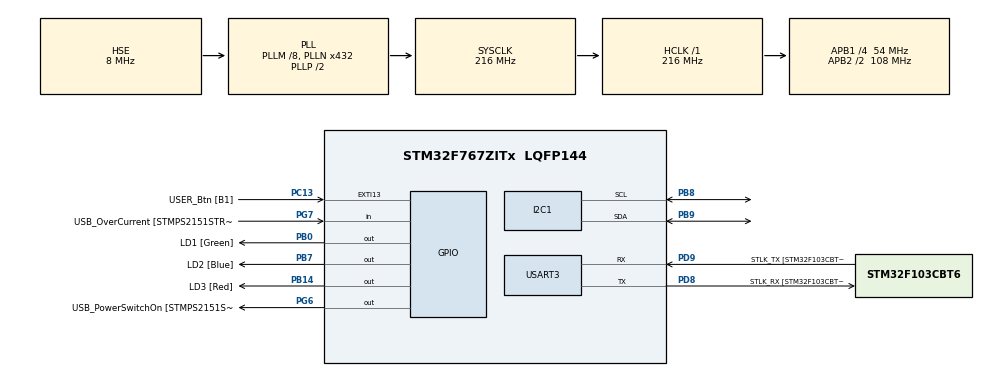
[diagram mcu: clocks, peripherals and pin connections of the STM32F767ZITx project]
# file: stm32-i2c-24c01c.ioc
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CORTEX_M7.ART_ACCLERATOR_ENABLE=1
CORTEX_M7.CPU_DCache=Enabled
CORTEX_M7.CPU_ICache=Enabled
I2C1.Timing=0x20404768
Mcu.Family=STM32F7
Mcu.Name=STM32F767ZITx
Mcu.Package=LQFP144
NVIC.PriorityGroup=NVIC_PRIORITYGROUP_4
PA1.GPIO_Label=RMII_REF_CLK [LAN8742A-CZ-TR_REFCLK0]
PA1.Signal=ETH_REF_CLK
PA10.GPIO_Label=USB_ID
PA10.Signal=USB_OTG_FS_ID
PA11.GPIO_Label=USB_DM
PA11.Signal=USB_OTG_FS_DM
PA12.GPIO_Label=USB_DP
PA12.Signal=USB_OTG_FS_DP
PA13.GPIO_Label=TMS
PA13.Signal=SYS_JTMS-SWDIO
PA14.GPIO_Label=TCK
PA14.Signal=SYS_JTCK-SWCLK
PA2.GPIO_Label=RMII_MDIO [LAN8742A-CZ-TR_MDIO]
PA2.Signal=ETH_MDIO
PA7.GPIO_Label=RMII_CRS_DV [LAN8742A-CZ-TR_CRS_DV]
PA7.Signal=ETH_CRS_DV
PA8.GPIO_Label=USB_SOF [TP1]
PA8.Signal=USB_OTG_FS_SOF
PA9.GPIO_Label=USB_VBUS
PA9.Signal=USB_OTG_FS_VBUS
PB0.GPIO_Label=LD1 [Green]
PB0.Signal=GPIO_Output
PB13.GPIO_Label=RMII_TXD1 [LAN8742A-CZ-TR_TXD1]
PB13.Signal=ETH_TXD1
PB14.GPIO_Label=LD3 [Red]
PB14.Signal=GPIO_Output
PB3.GPIO_Label=SW0
PB3.Signal=SYS_JTDO-SWO
PB7.GPIO_Label=LD2 [Blue]
PB7.Signal=GPIO_Output
PB8.Mode=I2C
PB8.Signal=I2C1_SCL
PB9.Mode=I2C
PB9.Signal=I2C1_SDA
PC1.GPIO_Label=RMII_MDC [LAN8742A-CZ-TR_MDC]
PC1.Signal=ETH_MDC
PC13.GPIO_Label=USER_Btn [B1]
PC13.Signal=GPXTI13
PC14/OSC32_IN.Signal=RCC_OSC32_IN
PC15/OSC32_OUT.Signal=RCC_OSC32_OUT
PC4.GPIO_Label=RMII_RXD0 [LAN8742A-CZ-TR_RXD0]
PC4.Signal=ETH_RXD0
PC5.GPIO_Label=RMII_RXD1 [LAN8742A-CZ-TR_RXD1]
PC5.Signal=ETH_RXD1
PD8.GPIO_Label=STLK_RX [STM32F103CBT6_PA3]
PD8.Mode=Asynchronous
PD8.Signal=USART3_TX
PD9.GPIO_Label=STLK_TX [STM32F103CBT6_PA2]
PD9.Mode=Asynchronous
PD9.Signal=USART3_RX
PG11.GPIO_Label=RMII_TX_EN [LAN8742A-CZ-TR_TXEN]
PG11.Signal=ETH_TX_EN
PG13.GPIO_Label=RMII_TXD0 [LAN8742A-CZ-TR_TXD0]
PG13.Signal=ETH_TXD0
PG6.GPIO_Label=USB_PowerSwitchOn [STMPS2151STR_EN]
PG6.Signal=GPIO_Output
PG7.GPIO_Label=USB_OverCurrent [STMPS2151STR_FAULT]
PG7.Signal=GPIO_Input
PH0/OSC_IN.GPIO_Label=MCO [STM32F103CBT6_PA8]
PH0/OSC_IN.Mode=HSE-External-Clock-Source
PH0/OSC_IN.Signal=RCC_OSC_IN
PH1/OSC_OUT.Mode=HSE-External-Clock-Source
PH1/OSC_OUT.Signal=RCC_OSC_OUT
ProjectManager.HeapSize=0x200
ProjectManager.StackSize=0x400
ProjectManager.TargetToolchain=SW4STM32
RCC.48MHZClocksFreq_Value=24000000
RCC.AHBFreq_Value=216000000
RCC.APB1CLKDivider=RCC_HCLK_DIV4
RCC.APB1Freq_Value=54000000
RCC.APB1TimFreq_Value=108000000
RCC.APB2CLKDivider=RCC_HCLK_DIV2
RCC.APB2Freq_Value=108000000
RCC.APB2TimFreq_Value=216000000
RCC.CortexFreq_Value=216000000
RCC.HCLKFreq_Value=216000000
RCC.HSE_VALUE=8000000
RCC.HSI_VALUE=16000000
RCC.LSE_VALUE=32768
RCC.PLLM=8
RCC.PLLMUL=RCC_PLL_MUL9
RCC.PLLN=432
RCC.PLLSourceVirtual=RCC_PLLSOURCE_HSE
RCC.PRESCALERUSB=RCC_USBCLKSOURCE_PLL_DIV1_5
RCC.SYSCLKFreq_VALUE=216000000
RCC.SYSCLKSource=RCC_SYSCLKSOURCE_PLLCLK
RCC.SYSCLKSourceVirtual=RCC_SYSCLKSOURCE_PLLCLK
RCC.USBFreq_Value=216000000
RCC.VCOOutputFreq_Value=432000000
USART3.VirtualMode-Asynchronous=VM_ASYNC
board=NUCLEO-F767ZI

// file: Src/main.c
/* USER CODE BEGIN Header */
/**
  ******************************************************************************
  * @file           : main.c
  * @brief          : Main program body
  ******************************************************************************
  ** This notice applies to any and all portions of this file
  * that are not between comment pairs USER CODE BEGIN and
  * USER CODE END. Other portions of this file, whether
  * inserted by the user or by software development tools
  * are owned by their respective copyright owners.
  *
  * COPYRIGHT(c) 2019 STMicroelectronics
  *
  * Redistribution and use in source and binary forms, with or without modification,
  * are permitted provided that the following conditions are met:
  *   1. Redistributions of source code must retain the above copyright notice,
  *      this list of conditions and the following disclaimer.
  *   2. Redistributions in binary form must reproduce the above copyright notice,
  *      this list of conditions and the following disclaimer in the documentation
  *      and/or other materials provided with the distribution.
  *   3. Neither the name of STMicroelectronics nor the names of its contributors
  *      may be used to endorse or promote products derived from this software
  *      without specific prior written permission.
  *
  * THIS SOFTWARE IS PROVIDED BY THE COPYRIGHT HOLDERS AND CONTRIBUTORS "AS IS"
  * AND ANY EXPRESS OR IMPLIED WARRANTIES, INCLUDING, BUT NOT LIMITED TO, THE
  * IMPLIED WARRANTIES OF MERCHANTABILITY AND FITNESS FOR A PARTICULAR PURPOSE ARE
  * DISCLAIMED. IN NO EVENT SHALL THE COPYRIGHT HOLDER OR CONTRIBUTORS BE LIABLE
  * FOR ANY DIRECT, INDIRECT, INCIDENTAL, SPECIAL, EXEMPLARY, OR CONSEQUENTIAL
  * DAMAGES (INCLUDING, BUT NOT LIMITED TO, PROCUREMENT OF SUBSTITUTE GOODS OR
  * SERVICES; LOSS OF USE, DATA, OR PROFITS; OR BUSINESS INTERRUPTION) HOWEVER
  * CAUSED AND ON ANY THEORY OF LIABILITY, WHETHER IN CONTRACT, STRICT LIABILITY,
  * OR TORT (INCLUDING NEGLIGENCE OR OTHERWISE) ARISING IN ANY WAY OUT OF THE USE
  * OF THIS SOFTWARE, EVEN IF ADVISED OF THE POSSIBILITY OF SUCH DAMAGE.
  *
  ******************************************************************************
  */
/* USER CODE END Header */

#include "main.h"

/* USER CODE BEGIN PD */
// should be enough timeout for everything on I2C...
#define HPSTM_I2C_TIMEOUT_MS 10000
#define HPSTM_24C_MEM_SIZE 128
//
// WARNING! Some 24C01x models have smaller page-size - 8-bytes!!!
//          If you are using EEPROM different from 24C01C - consult your data-sheet!
#define HPSTM_24C_WRITE_PAGE_SIZE 16
#define HPSTM_24C_WRITE_PAGE_MASK (HPSTM_24C_WRITE_PAGE_SIZE -1)
// EEPROM busy time after write - in data-sheet it is 1.5ms, we use 10ms
#define HPSTM_24C_DELAY_AFTER_WRITE_MS 10
// 0b1010 is device class 0b0000 is device address (HAL seems to expect 4-bits
// even when device address is 3-bits?)
#define HPSTM_24C_DEV_ADDRESS 0b10100000

// EEPROM address where to put testBuf into EEPROM
#define HPSTM_24C_TEST_ADDR 5
/* USER CODE END PD */

/* USER CODE BEGIN PM */
#define HPSTM_MIN(x,y) ( (x) < (y) ? (x) : (y) )
/* USER CODE END PM */

I2C_HandleTypeDef hi2c1;

UART_HandleTypeDef huart3;

/* USER CODE BEGIN PV */
static int hpstm_uart_initialized = 0;
static uint8_t memBuf[HPSTM_24C_MEM_SIZE];
// buffer to hold dynamic test string
static uint8_t testBuf[64];
/* USER CODE END PV */

void SystemClock_Config(void);
static void MX_GPIO_Init(void);
static void MX_I2C1_Init(void);
static void MX_USART3_UART_Init(void);
/* USER CODE BEGIN PFP */
#ifdef __GNUC__
/* With GCC/RAISONANCE, small printf (option LD Linker->Libraries->Small printf
   set to 'Yes') calls __io_putchar() */
#define PUTCHAR_PROTOTYPE int __io_putchar(int ch)
#else
#define PUTCHAR_PROTOTYPE int fputc(int ch, FILE *f)
#endif /* __GNUC__ */
/* USER CODE END PFP */

/* USER CODE BEGIN 0 */
// Hex/ASCII dump of memory
void HpStm_DumpBuf(uint8_t *buf, int n){
	const int VALUES_PER_LINE = 16;

	int i=0;
	printf("Dump of buffer at 0x%p,  bytes %u\r\n",buf,n);
	for(i=0;i<n;i++){
		// if it is new line - show address
		if ( i % VALUES_PER_LINE == 0){
			printf("0x%04x",i);
		}
		printf(" %02x",buf[i]);
		// if it is last byte on line dump also ASCII values where possible...
		if ( (i % VALUES_PER_LINE) == VALUES_PER_LINE - 1 || i == n-1 ){
			int start =  i / VALUES_PER_LINE * VALUES_PER_LINE;
			int end   = HPSTM_MIN( start + VALUES_PER_LINE,n);
			int j=0;
			// XXX: puts(3) always append \n
			putc(' ',stdout);
			for(j=start;j<end;j++){
				uint8_t b = buf[j];
				// NOTE: 127 behaves strange on some terminals
				//       therefore replaced with '.' even when 7-bit
				if (b>=32 && b<127){
					putc(b,stdout);
				} else {
					putc('.',stdout);
				}
			}
			puts("\r"); // new line
		}
	}
	printf("\r\n");
}

static void Hpstm_PrintDuration(int printOutput){
	static uint32_t startTick = 0;
	uint32_t thisTick = HAL_GetTick();

	if (startTick == 0){
		startTick = thisTick;
	}
	if (printOutput){
		printf("Done in %" PRIu32 " [ms]\r\n", thisTick-startTick);
	}
	startTick = thisTick;
}

static void Hpstm_ReadAndDumpEEPROM(){
	  // ensure that buffer is clean
	  memset(memBuf,0,sizeof(memBuf));

	  printf("Reading whole EEPROM - %u bytes\r\n", sizeof(memBuf));
	  Hpstm_PrintDuration(0);
	  // read EEPROM to CPU's RAM - memBuf
	  if(HAL_I2C_Mem_Read(&hi2c1, HPSTM_24C_DEV_ADDRESS, 0, I2C_MEMADD_SIZE_8BIT,
			  memBuf, sizeof(memBuf), HPSTM_I2C_TIMEOUT_MS) != HAL_OK){
		  printf("EEPROM read failed\n");
		  Error_Handler();
	  }
	  Hpstm_PrintDuration(1);
	  // dump EEPROM memory to serial console
	  HpStm_DumpBuf(memBuf,sizeof(memBuf));
}

static void Hpstm_24c_WriteToEeprom(uint16_t eepromAddr, uint8_t *buf, uint16_t bufLen){
	uint16_t n = bufLen;

	// NOTE: Written data may NOT cross EEPROM page boundaries!
	while(n>0){
		uint16_t chunkLen = HPSTM_24C_WRITE_PAGE_SIZE - (eepromAddr & HPSTM_24C_WRITE_PAGE_MASK);
		chunkLen = HPSTM_MIN(n, chunkLen);
		// now we can write data not crossing page boundary
		if(HAL_I2C_Mem_Write(&hi2c1, HPSTM_24C_DEV_ADDRESS, eepromAddr,
				I2C_MEMADD_SIZE_8BIT, buf, chunkLen, HPSTM_I2C_TIMEOUT_MS) != HAL_OK){
			printf("EEPROM write failed eepromAddr=%" PRIx16 " bufLen=%" PRIu16, eepromAddr, bufLen);
			Error_Handler();
		}
		HAL_Delay(HPSTM_24C_DELAY_AFTER_WRITE_MS); // delay after write

		// update all addresses and remaining bytes to be written
		buf += chunkLen;
		eepromAddr += chunkLen;
		n -= chunkLen;
	}
}

static void HpStm_24c_WritePattern(uint8_t pattern){
	memset(memBuf,pattern,sizeof(memBuf));
	Hpstm_24c_WriteToEeprom(0,memBuf,sizeof(memBuf));

}

/* USER CODE END 0 */

int main(void)
{

  /* Enable I-Cache---------------------------------------------------------*/
  SCB_EnableICache();

  /* Enable D-Cache---------------------------------------------------------*/
  SCB_EnableDCache();

  /* MCU Configuration--------------------------------------------------------*/

  /* Reset of all peripherals, Initializes the Flash interface and the Systick. */
  HAL_Init();

  /* Configure the system clock */
  SystemClock_Config();

  /* Initialize all configured peripherals */
  MX_GPIO_Init();
  MX_I2C1_Init();
  MX_USART3_UART_Init();
  /* USER CODE BEGIN 2 */
  hpstm_uart_initialized = 1;
  printf("\r\n\r\nStarting program on %s:%u\r\n", __FILE__, __LINE__);
  printf("Program build date: %s %s\r\n", __DATE__, __TIME__);
  printf("GCC version: %s\r\n", __VERSION__);
  // green LED on forever - to signal that init was done.
  HAL_GPIO_WritePin(GPIOB, LD1_Pin, GPIO_PIN_SET);
  // send message to UART
  printf("Init complete.\r\n");
  fflush(stdout);

  Hpstm_PrintDuration(0); // init tick counter
  // erase EEPROM - to have clean "background"
  printf("Cleaning EEPROM...\r\n");
  HpStm_24c_WritePattern(0xff);
  Hpstm_PrintDuration(1);

  // fill something dynamic to testBuf
  memset(testBuf,0,sizeof(testBuf));
  snprintf((char*)testBuf,sizeof(testBuf),"Hello! SysTick=%" PRIu32 ,HAL_GetTick());
  printf("Test string is: '%s'\r\n",testBuf);

  printf("Writing test data to EEPROM...\r\n");
  Hpstm_PrintDuration(0);
  Hpstm_24c_WriteToEeprom(HPSTM_24C_TEST_ADDR,testBuf,strlen((char*)testBuf)+1);
  Hpstm_PrintDuration(1);

  Hpstm_ReadAndDumpEEPROM();

  /* USER CODE END 2 */

  /* Infinite loop */
  while (1)
  {

    /* USER CODE BEGIN 3 */
    // blink Blue LED
	HAL_GPIO_TogglePin(GPIOB,LD2_Pin);
	HAL_Delay(100); // 100ms delay
  }
  /* USER CODE END 3 */
}

void SystemClock_Config(void)
{
  RCC_OscInitTypeDef RCC_OscInitStruct = {0};
  RCC_ClkInitTypeDef RCC_ClkInitStruct = {0};
  RCC_PeriphCLKInitTypeDef PeriphClkInitStruct = {0};

  /**Configure the main internal regulator output voltage
  */
  __HAL_RCC_PWR_CLK_ENABLE();
  __HAL_PWR_VOLTAGESCALING_CONFIG(PWR_REGULATOR_VOLTAGE_SCALE1);
  /**Initializes the CPU, AHB and APB busses clocks
  */
  RCC_OscInitStruct.OscillatorType = RCC_OSCILLATORTYPE_HSE;
  RCC_OscInitStruct.HSEState = RCC_HSE_BYPASS;
  RCC_OscInitStruct.PLL.PLLState = RCC_PLL_ON;
  RCC_OscInitStruct.PLL.PLLSource = RCC_PLLSOURCE_HSE;
  RCC_OscInitStruct.PLL.PLLM = 8;
  RCC_OscInitStruct.PLL.PLLN = 432;
  RCC_OscInitStruct.PLL.PLLP = RCC_PLLP_DIV2;
  RCC_OscInitStruct.PLL.PLLQ = 2;
  if (HAL_RCC_OscConfig(&RCC_OscInitStruct) != HAL_OK)
  {
    Error_Handler();
  }
  /**Activate the Over-Drive mode
  */
  if (HAL_PWREx_EnableOverDrive() != HAL_OK)
  {
    Error_Handler();
  }
  /**Initializes the CPU, AHB and APB busses clocks
  */
  RCC_ClkInitStruct.ClockType = RCC_CLOCKTYPE_HCLK|RCC_CLOCKTYPE_SYSCLK
                              |RCC_CLOCKTYPE_PCLK1|RCC_CLOCKTYPE_PCLK2;
  RCC_ClkInitStruct.SYSCLKSource = RCC_SYSCLKSOURCE_PLLCLK;
  RCC_ClkInitStruct.AHBCLKDivider = RCC_SYSCLK_DIV1;
  RCC_ClkInitStruct.APB1CLKDivider = RCC_HCLK_DIV4;
  RCC_ClkInitStruct.APB2CLKDivider = RCC_HCLK_DIV2;

  if (HAL_RCC_ClockConfig(&RCC_ClkInitStruct, FLASH_LATENCY_7) != HAL_OK)
  {
    Error_Handler();
  }
  PeriphClkInitStruct.PeriphClockSelection = RCC_PERIPHCLK_USART3|RCC_PERIPHCLK_I2C1;
  PeriphClkInitStruct.Usart3ClockSelection = RCC_USART3CLKSOURCE_PCLK1;
  PeriphClkInitStruct.I2c1ClockSelection = RCC_I2C1CLKSOURCE_PCLK1;
  if (HAL_RCCEx_PeriphCLKConfig(&PeriphClkInitStruct) != HAL_OK)
  {
    Error_Handler();
  }
}

static void MX_I2C1_Init(void)
{

  hi2c1.Instance = I2C1;
  hi2c1.Init.Timing = 0x20404768;
  hi2c1.Init.OwnAddress1 = 0;
  hi2c1.Init.AddressingMode = I2C_ADDRESSINGMODE_7BIT;
  hi2c1.Init.DualAddressMode = I2C_DUALADDRESS_DISABLE;
  hi2c1.Init.OwnAddress2 = 0;
  hi2c1.Init.OwnAddress2Masks = I2C_OA2_NOMASK;
  hi2c1.Init.GeneralCallMode = I2C_GENERALCALL_DISABLE;
  hi2c1.Init.NoStretchMode = I2C_NOSTRETCH_DISABLE;
  if (HAL_I2C_Init(&hi2c1) != HAL_OK)
  {
    Error_Handler();
  }
  /**Configure Analogue filter
  */
  if (HAL_I2CEx_ConfigAnalogFilter(&hi2c1, I2C_ANALOGFILTER_ENABLE) != HAL_OK)
  {
    Error_Handler();
  }
  /**Configure Digital filter
  */
  if (HAL_I2CEx_ConfigDigitalFilter(&hi2c1, 0) != HAL_OK)
  {
    Error_Handler();
  }

}

static void MX_USART3_UART_Init(void)
{

  huart3.Instance = USART3;
  huart3.Init.BaudRate = 115200;
  huart3.Init.WordLength = UART_WORDLENGTH_8B;
  huart3.Init.StopBits = UART_STOPBITS_1;
  huart3.Init.Parity = UART_PARITY_NONE;
  huart3.Init.Mode = UART_MODE_TX_RX;
  huart3.Init.HwFlowCtl = UART_HWCONTROL_NONE;
  huart3.Init.OverSampling = UART_OVERSAMPLING_16;
  huart3.Init.OneBitSampling = UART_ONE_BIT_SAMPLE_DISABLE;
  huart3.AdvancedInit.AdvFeatureInit = UART_ADVFEATURE_NO_INIT;
  if (HAL_UART_Init(&huart3) != HAL_OK)
  {
    Error_Handler();
  }

}

static void MX_GPIO_Init(void)
{
  GPIO_InitTypeDef GPIO_InitStruct = {0};

  /* GPIO Ports Clock Enable */
  __HAL_RCC_GPIOC_CLK_ENABLE();
  __HAL_RCC_GPIOH_CLK_ENABLE();
  __HAL_RCC_GPIOA_CLK_ENABLE();
  __HAL_RCC_GPIOB_CLK_ENABLE();
  __HAL_RCC_GPIOD_CLK_ENABLE();
  __HAL_RCC_GPIOG_CLK_ENABLE();

  /*Configure GPIO pin Output Level */
  HAL_GPIO_WritePin(GPIOB, LD1_Pin|LD3_Pin|LD2_Pin, GPIO_PIN_RESET);

  /*Configure GPIO pin Output Level */
  HAL_GPIO_WritePin(USB_PowerSwitchOn_GPIO_Port, USB_PowerSwitchOn_Pin, GPIO_PIN_RESET);

  /*Configure GPIO pin : USER_Btn_Pin */
  GPIO_InitStruct.Pin = USER_Btn_Pin;
  GPIO_InitStruct.Mode = GPIO_MODE_IT_RISING;
  GPIO_InitStruct.Pull = GPIO_NOPULL;
  HAL_GPIO_Init(USER_Btn_GPIO_Port, &GPIO_InitStruct);

  /*Configure GPIO pins : RMII_MDC_Pin RMII_RXD0_Pin RMII_RXD1_Pin */
  GPIO_InitStruct.Pin = RMII_MDC_Pin|RMII_RXD0_Pin|RMII_RXD1_Pin;
  GPIO_InitStruct.Mode = GPIO_MODE_AF_PP;
  GPIO_InitStruct.Pull = GPIO_NOPULL;
  GPIO_InitStruct.Speed = GPIO_SPEED_FREQ_VERY_HIGH;
  GPIO_InitStruct.Alternate = GPIO_AF11_ETH;
  HAL_GPIO_Init(GPIOC, &GPIO_InitStruct);

  /*Configure GPIO pins : RMII_REF_CLK_Pin RMII_MDIO_Pin RMII_CRS_DV_Pin */
  GPIO_InitStruct.Pin = RMII_REF_CLK_Pin|RMII_MDIO_Pin|RMII_CRS_DV_Pin;
  GPIO_InitStruct.Mode = GPIO_MODE_AF_PP;
  GPIO_InitStruct.Pull = GPIO_NOPULL;
  GPIO_InitStruct.Speed = GPIO_SPEED_FREQ_VERY_HIGH;
  GPIO_InitStruct.Alternate = GPIO_AF11_ETH;
  HAL_GPIO_Init(GPIOA, &GPIO_InitStruct);

  /*Configure GPIO pins : LD1_Pin LD3_Pin LD2_Pin */
  GPIO_InitStruct.Pin = LD1_Pin|LD3_Pin|LD2_Pin;
  GPIO_InitStruct.Mode = GPIO_MODE_OUTPUT_PP;
  GPIO_InitStruct.Pull = GPIO_NOPULL;
  GPIO_InitStruct.Speed = GPIO_SPEED_FREQ_LOW;
  HAL_GPIO_Init(GPIOB, &GPIO_InitStruct);

  /*Configure GPIO pin : RMII_TXD1_Pin */
  GPIO_InitStruct.Pin = RMII_TXD1_Pin;
  GPIO_InitStruct.Mode = GPIO_MODE_AF_PP;
  GPIO_InitStruct.Pull = GPIO_NOPULL;
  GPIO_InitStruct.Speed = GPIO_SPEED_FREQ_VERY_HIGH;
  GPIO_InitStruct.Alternate = GPIO_AF11_ETH;
  HAL_GPIO_Init(RMII_TXD1_GPIO_Port, &GPIO_InitStruct);

  /*Configure GPIO pin : USB_PowerSwitchOn_Pin */
  GPIO_InitStruct.Pin = USB_PowerSwitchOn_Pin;
  GPIO_InitStruct.Mode = GPIO_MODE_OUTPUT_PP;
  GPIO_InitStruct.Pull = GPIO_NOPULL;
  GPIO_InitStruct.Speed = GPIO_SPEED_FREQ_LOW;
  HAL_GPIO_Init(USB_PowerSwitchOn_GPIO_Port, &GPIO_InitStruct);

  /*Configure GPIO pin : USB_OverCurrent_Pin */
  GPIO_InitStruct.Pin = USB_OverCurrent_Pin;
  GPIO_InitStruct.Mode = GPIO_MODE_INPUT;
  GPIO_InitStruct.Pull = GPIO_NOPULL;
  HAL_GPIO_Init(USB_OverCurrent_GPIO_Port, &GPIO_InitStruct);

  /*Configure GPIO pins : USB_SOF_Pin USB_ID_Pin USB_DM_Pin USB_DP_Pin */
  GPIO_InitStruct.Pin = USB_SOF_Pin|USB_ID_Pin|USB_DM_Pin|USB_DP_Pin;
  GPIO_InitStruct.Mode = GPIO_MODE_AF_PP;
  GPIO_InitStruct.Pull = GPIO_NOPULL;
  GPIO_InitStruct.Speed = GPIO_SPEED_FREQ_VERY_HIGH;
  GPIO_InitStruct.Alternate = GPIO_AF10_OTG_FS;
  HAL_GPIO_Init(GPIOA, &GPIO_InitStruct);

  /*Configure GPIO pin : USB_VBUS_Pin */
  GPIO_InitStruct.Pin = USB_VBUS_Pin;
  GPIO_InitStruct.Mode = GPIO_MODE_INPUT;
  GPIO_InitStruct.Pull = GPIO_NOPULL;
  HAL_GPIO_Init(USB_VBUS_GPIO_Port, &GPIO_InitStruct);

  /*Configure GPIO pins : RMII_TX_EN_Pin RMII_TXD0_Pin */
  GPIO_InitStruct.Pin = RMII_TX_EN_Pin|RMII_TXD0_Pin;
  GPIO_InitStruct.Mode = GPIO_MODE_AF_PP;
  GPIO_InitStruct.Pull = GPIO_NOPULL;
  GPIO_InitStruct.Speed = GPIO_SPEED_FREQ_VERY_HIGH;
  GPIO_InitStruct.Alternate = GPIO_AF11_ETH;
  HAL_GPIO_Init(GPIOG, &GPIO_InitStruct);

}

/* USER CODE BEGIN 4 */
PUTCHAR_PROTOTYPE
{
	  /* send  fputc output to UART/COM port */
	  // from STM32Cube_FW_F7_V1.14.0\Projects\STM32F767ZI-Nucleo\Examples\UART\UART_Printf\Src\main.c
	  /* e.g. write a character to the USART3 and Loop until the end of transmission */
	  HAL_UART_Transmit(&huart3, (uint8_t *)&ch, 1, 0xFFFF);
	  return ch;

}
/* USER CODE END 4 */

void Error_Handler(void)
{
  /* USER CODE BEGIN Error_Handler_Debug */
  /* User can add his own implementation to report the HAL error return state */

  // red LED on to signal fatal error
  HAL_GPIO_WritePin(GPIOB, LD3_Pin, GPIO_PIN_SET);
  // try to send message to UART
  if (hpstm_uart_initialized){
	  printf("*** Fatal error occurred - system halted. ***\r\n");
  }
  // and loop forever
  while(1){

  }

  /* USER CODE END Error_Handler_Debug */
}

/************************ (C) COPYRIGHT STMicroelectronics *****END OF FILE****/
